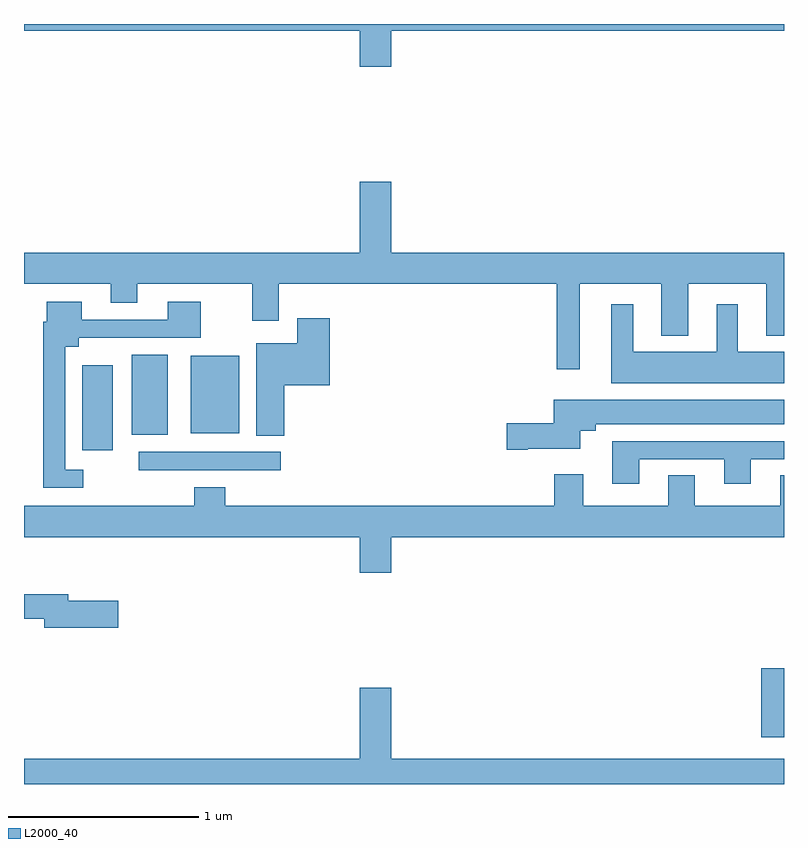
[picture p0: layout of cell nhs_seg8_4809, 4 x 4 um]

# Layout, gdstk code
import gdstk
lib = gdstk.Library(unit=1e-6, precision=1e-09)
def R(c, l, rs):  # rectangles x0, y0, x1, y1
    for r in rs: c.add(gdstk.rectangle(r[:2], r[2:], *l))
def P(c, l, *ps):  # polygons
    for p in ps: c.add(gdstk.Polygon(p, *l))
L2000_40 = (2000, 40)

nhs_seg8_4809 = lib.new_cell('nhs_seg8_4809')
R(nhs_seg8_4809, L2000_40, [(406.88,1082.147,407,1082.509), (403.605,1083.552,404.35,1083.648), (403.307,1083.657,403.468,1084.105), (403.568,1083.737,403.756,1084.159), (403.877,1083.746,404.134,1084.153)])
P(nhs_seg8_4809, L2000_40, [(404.932,1085.864),(407,1085.864),(407,1085.9),(403,1085.9),(403,1085.864),(404.768,1085.864),(404.768,1085.676),(404.932,1085.676)],
  [(405.925,1084.532),(406.355,1084.532),(406.355,1084.259),(406.495,1084.259),(406.495,1084.532),(406.907,1084.532),(406.907,1084.259),(407,1084.259),(407,1084.696),(404.932,1084.696),(404.932,1085.071),(404.768,1085.071),(404.768,1084.696),(403,1084.696),(403,1084.532),(403.457,1084.532),(403.457,1084.433),(403.597,1084.433),(403.597,1084.532),(404.201,1084.532),(404.201,1084.338),(404.341,1084.338),(404.341,1084.532),(405.804,1084.532),(405.804,1084.083),(405.925,1084.083)],
  [(403.312,1083.555),(403.218,1083.555),(403.218,1084.202),(403.288,1084.202),(403.288,1084.248),(403.93,1084.248),(403.93,1084.438),(403.757,1084.438),(403.757,1084.344),(403.303,1084.344),(403.303,1084.438),(403.121,1084.438),(403.121,1084.334),(403.102,1084.334),(403.102,1083.459),(403.312,1083.459)],
  [(407,1084.174),(406.756,1084.174),(406.756,1084.426),(406.646,1084.426),(406.646,1084.174),(406.207,1084.174),(406.207,1084.426),(406.091,1084.426),(406.091,1084.01),(407,1084.01)],
  [(404.369,1083.998),(404.609,1083.998),(404.609,1084.351),(404.438,1084.351),(404.438,1084.219),(404.222,1084.219),(404.222,1083.733),(404.369,1083.733)],
  [(405.652,1083.665),(405.928,1083.665),(405.928,1083.758),(406.009,1083.758),(406.009,1083.794),(407,1083.794),(407,1083.922),(405.788,1083.922),(405.788,1083.8),(405.54,1083.8),(405.54,1083.658),(405.652,1083.658)],
  [(406.237,1083.609),(406.685,1083.609),(406.685,1083.48),(406.825,1083.48),(406.825,1083.609),(407,1083.609),(407,1083.705),(406.097,1083.705),(406.097,1083.48),(406.237,1083.48)],
  [(404.932,1083.2),(407,1083.2),(407,1083.524),(406.979,1083.524),(406.979,1083.364),(406.531,1083.364),(406.531,1083.524),(406.391,1083.524),(406.391,1083.364),(405.943,1083.364),(405.943,1083.529),(405.791,1083.529),(405.791,1083.364),(404.06,1083.364),(404.06,1083.463),(403.895,1083.463),(403.895,1083.364),(403,1083.364),(403,1083.2),(404.768,1083.2),(404.768,1083.012),(404.932,1083.012)],
  [(403.495,1082.865),(403.234,1082.865),(403.234,1082.899),(403,1082.899),(403,1082.77),(403.106,1082.77),(403.106,1082.723),(403.495,1082.723)],
  [(407,1082.032),(404.932,1082.032),(404.932,1082.407),(404.768,1082.407),(404.768,1082.032),(403,1082.032),(403,1081.9),(407,1081.9)])

lib.write_gds('nhs_seg8_4809.gds')
